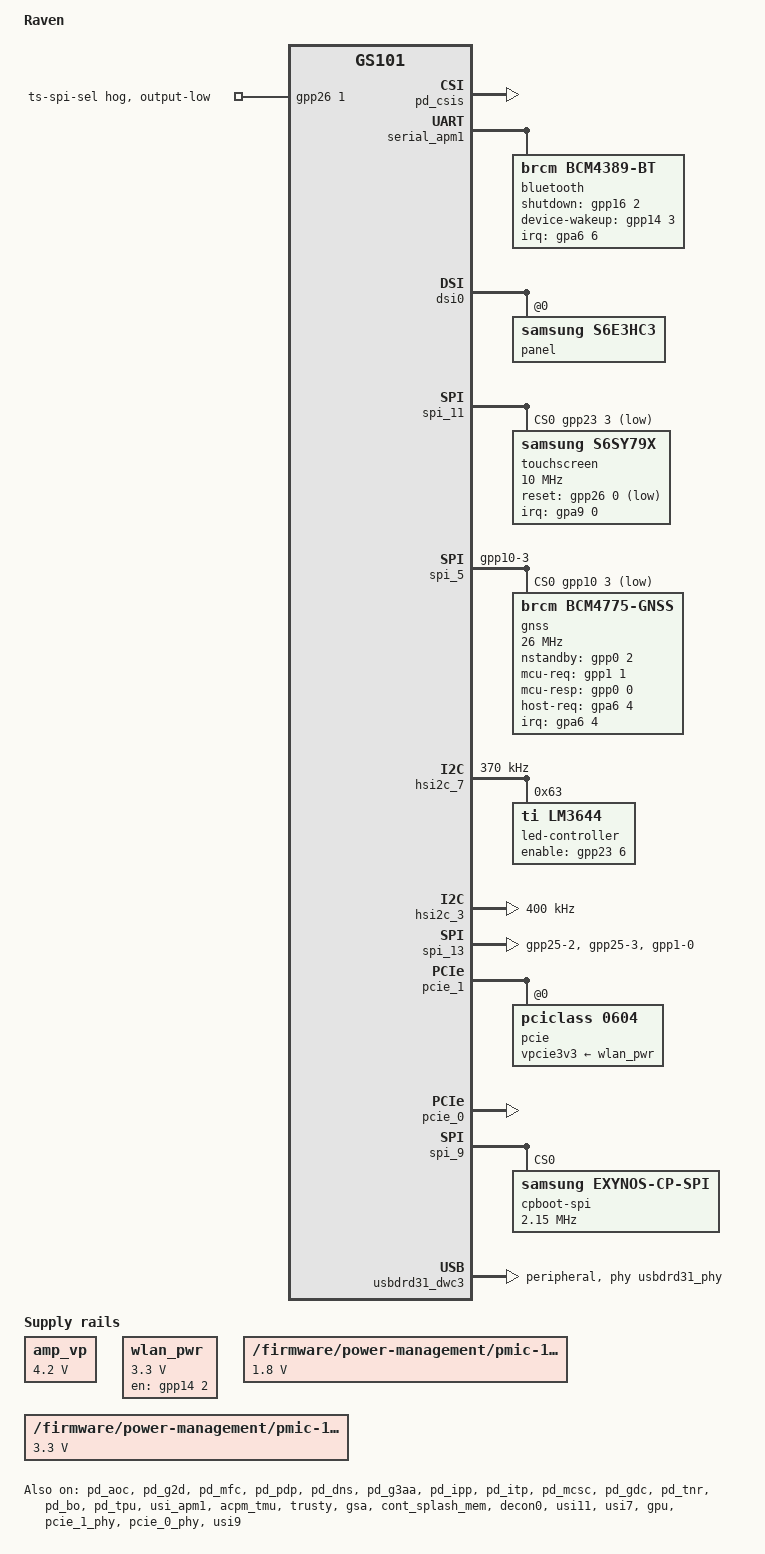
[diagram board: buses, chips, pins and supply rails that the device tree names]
// SPDX-License-Identifier: GPL-2.0-only
/*
 * Raven Device Tree
 *
 * Copyright 2021-2023 Google LLC
 * Copyright 2023-2025 Linaro Ltd
 */

/dts-v1/;

#include <dt-bindings/leds/common.h>
#include "gs101-pixel-common.dtsi"

/ {
	model = "Raven";
	compatible = "google,gs101-raven", "google,gs101";

	/*
	 * ABL picks the base DTB by soc_id (product id 0x09845000 | major
	 * revision); the factory vendor_boot carries one per revision. B0 = 1.
	 */
	soc_id = <0x09845001 0x0>;

	chosen {
		/*
		 * ABL appends its own arguments (console=null among them), so a
		 * panic is silent: panic=10 reboots instead of hanging. init hands
		 * over to the Arch root on userdata when it finds one.
		 * mem_sleep_default=s2idle: the firmware offers PSCI system
		 * suspend, so "mem" would otherwise mean "deep", which needs a
		 * PMU sleep sequence the kernel doesn't have yet.
		 */
		bootargs = "console=tty0 panic=10 clk_ignore_unused rdinit=/init mem_sleep_default=s2idle";
	};

	reserved-memory {
		/*
		 * Scanout buffers for gs-decon: DPP0 takes 32-bit addresses and
		 * the DPU SysMMU is bypassed (as on cheetah). Five 1440x3120
		 * XRGB8888 buffers; reusable while unused.
		 */
		display_pool: display-pool {
			compatible = "shared-dma-pool";
			reusable;
			size = <0x5c00000>;
			alignment = <0x0 0x200000>;
			/* Not in 3.75-4 GiB: DPP0's reads from 0xf2c00000+ hung silently */
			alloc-ranges = <0x0 0xa0000000 0x40000000>;
		};
	};
};

&acpm_ipc {
	/*
	 * ABL leaves the memory bus at 2028 MHz and nothing scales it yet.
	 * 1014 MHz saved about 70 mA, as much as stock's
	 * 421 MHz idle, with headroom for the display and the GPU.
	 */
	assigned-clocks = <&acpm_ipc GS101_CLK_ACPM_DVFS_MIF>;
	assigned-clock-rates = <1014000000>;

	pmic-2 {
		regulators {
			ldo4s {
				regulator-name = "vdd2_uwb";
				regulator-min-microvolt = <2500000>;
				regulator-max-microvolt = <3300000>;
			};

			ldo14s {
				regulator-name = "vdd3_uwb";
				regulator-min-microvolt = <1600000>;
				regulator-max-microvolt = <1950000>;
			};
		};
	};
};

/* Unused blocks the bootloader leaves powered: genpd turns them off */
&pd_aoc {
	status = "okay";
};

&pd_g2d {
	status = "okay";
};

&pd_mfc {
	status = "okay";
};

&pd_csis {
	status = "okay";
};

&pd_pdp {
	status = "okay";
};

&pd_dns {
	status = "okay";
};

&pd_g3aa {
	status = "okay";
};

&pd_ipp {
	status = "okay";
};

&pd_itp {
	status = "okay";
};

&pd_mcsc {
	status = "okay";
};

&pd_gdc {
	status = "okay";
};

&pd_tnr {
	status = "okay";
};

&pd_bo {
	status = "okay";
};

&pd_tpu {
	status = "okay";
};

/* Bluetooth: the BCM4389 on the APM USI1 UART (Google's gs101-common-bluetooth) */
&usi_apm1 {
	status = "okay";
};

&serial_apm1 {
	status = "okay";

	bluetooth {
		compatible = "brcm,bcm4389-bt";
		shutdown-gpios = <&gpp16 2 GPIO_ACTIVE_HIGH>;
		device-wakeup-gpios = <&gpp14 3 GPIO_ACTIVE_HIGH>;
		interrupts-extended = <&gpa6 6 IRQ_TYPE_EDGE_RISING>;
		interrupt-names = "host-wakeup";
		max-speed = <3000000>;
	};
};

&acpm_tmu {
	status = "okay";
};

/* AoC bring-up: Trusty and the GSA mailbox */
&trusty {
	status = "okay";
};

&gsa {
	status = "okay";
};

/*
 * The AoC's sensor rails, as on stock raven: the AoC driver power-cycles
 * and enables them at probe. The microphones are on ldo20m, always on.
 */
&aoc {
	google,board-id = <0x20202>;
	google,board-rev = <0x10000>;
	/* D_TZPC_AOC: stock pd_aoc's need_smc, restored by an EL3 SMC */
	google,tzpc-smc = <0x1a010204>;
	sensor_1v8-supply = <&{/firmware/power-management/pmic-2/regulators/ldo7s}>;
	sensor_3v3-supply = <&{/firmware/power-management/pmic-2/regulators/ldo6s}>;
	sensor_power_list = "sensor_1v8", "sensor_3v3";
};

&cont_splash_mem {
	reg = <0x0 0xfac00000 (1440 * 3120 * 4)>;

	status = "okay";
};

/* The display: gs-decon takes over the bootloader's pipeline from simpledrm */
&decon0 {
	memory-region = <&display_pool>, <&cont_splash_mem>;
	memory-region-names = "pool", "boot-framebuffer";
	status = "okay";
};

&dsi0 {
	/* mask DECON's trigger while the panel's display is off */
	google,decon = <&decon0>;
	status = "okay";

	/* brightness, display on/off and 60/120 Hz; the bootloader runs it */
	panel@0 {
		compatible = "samsung,s6e3hc3";
		reg = <0>;
	};
};

&framebuffer0 {
	width = <1440>;
	height = <3120>;
	stride = <(1440 * 4)>;
	format = "a8r8g8b8";

	status = "okay";
};

/*
 * Touch: a Samsung S6SY79x on SPI 11 (Google's gs101-sec-touch.dtsi and
 * gs101-common-touch.dtsi): 10 MHz, mode 3, interrupt on gpa9-0, an
 * active-low reset on gpp26-0 (sec_ts drives it 0 until powered, then
 * 1, 0, 1), DVDD on LDO25M and AVDD on LDO26M, which
 * gs101-raven-touch.dtsi pins to 1.8 V and 3.3 V.
 */
&usi11 {
	samsung,mode = <USI_MODE_SPI>;
	status = "okay";
};

&spi_11 {
	cs-gpios = <&gpp23 3 GPIO_ACTIVE_LOW>;
	num-cs = <1>;
	pinctrl-0 = <&spi11_bus &spi11_cs>;
	status = "okay";

	touchscreen@0 {
		compatible = "samsung,s6sy79x";
		reg = <0>;
		spi-max-frequency = <10000000>;
		spi-cpol;
		spi-cpha;
		interrupt-parent = <&gpa9>;
		interrupts = <0 IRQ_TYPE_LEVEL_LOW>;
		reset-gpios = <&gpp26 0 GPIO_ACTIVE_LOW>;
		vdd-supply = <&{/firmware/power-management/pmic-1/regulators/ldo25m}>;
		avdd-supply = <&{/firmware/power-management/pmic-1/regulators/ldo26m}>;
		touchscreen-size-x = <1440>;
		touchscreen-size-y = <3120>;
	};
};

/* TS_SPI_SEL: low gives the touch controller's bus to the AP, not the AoC */
&gpp26 {
	ts-spi-sel-hog {
		gpio-hog;
		gpios = <1 GPIO_ACTIVE_HIGH>;
		output-low;
		line-name = "ts-spi-sel";
	};
};

&{/firmware/power-management/pmic-1/regulators/ldo25m} {
	regulator-min-microvolt = <1800000>;
	regulator-max-microvolt = <1800000>;
};

&{/firmware/power-management/pmic-1/regulators/ldo26m} {
	regulator-min-microvolt = <3300000>;
	regulator-max-microvolt = <3300000>;
};

/*
 * GNSS: Broadcom BCM4775x on PERIC0 USI5 SPI (Google's spi5), 26 MHz, mode 3,
 * as stock's raven device tree describes it (bcm4775@0). The chip select is
 * driven as a GPIO, as on cheetah. Its supplies are S2MPG11 LDO9S-LDO11S
 * (stock: L9S_GNSS_CORE, L10S_GNSS_RF, L11S_GNSS_AUX). The stock lhd/gpsd
 * daemons drive it through /dev/ttyBCM. Disabled until the gnss-test
 * overlay.
 */
&usi5 {
	samsung,mode = <USI_MODE_SPI>;
};

&spi_5 {
	pinctrl-0 = <&spi5_bus &gnss_spi_cs>;
	cs-gpios = <&gpp10 3 GPIO_ACTIVE_LOW>;
	num-cs = <1>;

	gnss@0 {
		compatible = "brcm,bcm4775-gnss";
		reg = <0>;
		spi-max-frequency = <26000000>;
		spi-cpol;
		spi-cpha;
		interrupts-extended = <&gpa6 4 IRQ_TYPE_LEVEL_HIGH>;
		/* Raw levels: lhd writes 1 to the nstandby attribute to run it */
		nstandby-gpios = <&gpp0 2 GPIO_ACTIVE_HIGH>;
		mcu-req-gpios = <&gpp1 1 GPIO_ACTIVE_HIGH>;
		mcu-resp-gpios = <&gpp0 0 GPIO_ACTIVE_HIGH>;
		host-req-gpios = <&gpa6 4 GPIO_ACTIVE_HIGH>;
		vddcore-supply = <&{/firmware/power-management/pmic-2/regulators/ldo9s}>;
		vddrf-supply = <&{/firmware/power-management/pmic-2/regulators/ldo10s}>;
		vddaux-supply = <&{/firmware/power-management/pmic-2/regulators/ldo11s}>;
		pinctrl-0 = <&gnss_nstandby &gnss_mcu_resp &gnss_mcu_req
			     &gnss_host_req>;
		pinctrl-names = "default";
	};
};

&pinctrl_far_alive {
	gnss_host_req: gnss-host-req-pins {
		samsung,pins = "gpa6-4";
		samsung,pin-function = <GS101_PIN_FUNC_EINT>;
		samsung,pin-pud = <GS101_PIN_PULL_NONE>;
	};
};

&pinctrl_peric0 {
	gnss_mcu_resp: gnss-mcu-resp-pins {
		samsung,pins = "gpp0-0";
		samsung,pin-function = <GS101_PIN_FUNC_INPUT>;
		samsung,pin-pud = <GS101_PIN_PULL_DOWN>;
	};

	gnss_nstandby: gnss-nstandby-pins {
		samsung,pins = "gpp0-2";
		samsung,pin-function = <GS101_PIN_FUNC_OUTPUT>;
		samsung,pin-pud = <GS101_PIN_PULL_NONE>;
	};

	gnss_mcu_req: gnss-mcu-req-pins {
		samsung,pins = "gpp1-1";
		samsung,pin-function = <GS101_PIN_FUNC_OUTPUT>;
		samsung,pin-pud = <GS101_PIN_PULL_NONE>;
	};

	gnss_spi_cs: gnss-spi-cs-pins {
		samsung,pins = "gpp10-3";
		samsung,pin-function = <GS101_PIN_FUNC_OUTPUT>;
		samsung,pin-pud = <GS101_PIN_PULL_NONE>;
	};
};

/*
 * Rear flash LED: TI LM3644 at 0x63 on PERIC0 USI7 (Google's I2C bus 7, also
 * the cameras' bus), HWEN on gpp23-6, as stock's raven device tree
 * describes it. Stock drives it from the camera HAL through LWIS; torch only
 * here, with cheetah's bring-up cap (not a stock value).
 */
&usi7 {
	samsung,mode = <USI_MODE_I2C>;
	status = "okay";
};

&hsi2c_7 {
	clock-frequency = <370000>;
	status = "okay";

	led-controller@63 {
		compatible = "ti,lm3644";
		reg = <0x63>;
		enable-gpios = <&gpp23 6 GPIO_ACTIVE_HIGH>;

		led {
			function = LED_FUNCTION_TORCH;
			color = <LED_COLOR_ID_WHITE>;
			led-sources = <1 2>;
			led-max-microamp = <50000>;
		};
	};

	/*
	 * The camera PMIC. Its boost, buck and pull-up lines (S2MPG11 GPIOs
	 * 1, 3 and 4) have no binding yet; they must be high before chip
	 * select, in that order. The LDOs carry no voltage constraints, so
	 * nothing sets a voltage until the camera supplies are described.
	 */
	pmic@75 {
		compatible = "dlg,slg51000";
		reg = <0x75>;
		dlg,cs-gpios = <&s2mpg11_gpio 0 GPIO_ACTIVE_HIGH>;
		status = "disabled";

		regulators {
			cam_ldo1: ldo1 {
				regulator-name = "cam_ldo1";
				/* stock waits 3 ms before the next camera supply */
				regulator-enable-ramp-delay = <3000>;
			};

			cam_ldo2: ldo2 {
				regulator-name = "cam_ldo2";
			};

			cam_ldo3: ldo3 {
				regulator-name = "cam_ldo3";
			};

			cam_ldo4: ldo4 {
				regulator-name = "cam_ldo4";
			};

			cam_ldo5: ldo5 {
				regulator-name = "cam_ldo5";
			};

			cam_ldo6: ldo6 {
				regulator-name = "cam_ldo6";
			};

			cam_ldo7: ldo7 {
				regulator-name = "cam_ldo7";
			};
		};
	};
};

/*
 * The ultrawide camera's bus (Google's I2C bus 3): the IMX386 at 0x1a and
 * its module EEPROM at 0x50, both powered from the camera PMIC, so the bus
 * stays disabled until the camera supplies are described. Stock pulls the
 * lines up in the SoC while the bus is in use and runs it at 950 kHz;
 * fast mode is plenty for bring-up.
 */
&hsi2c3_bus {
	samsung,pin-pud = <GS101_PIN_PULL_UP>;
};

&usi3 {
	samsung,mode = <USI_MODE_I2C>;
};

&hsi2c_3 {
	clock-frequency = <400000>;

	/*
	 * The ultrawide, a Sony IMX386. Stock's power-up: LDO1, 3 ms (the
	 * ramp delay above), LDO4, 1 ms, MCLK, 1 ms, reset released, 10 ms.
	 * The board feeds the module only LDO1 (3.05 V) and LDO4 (2.9 V), so
	 * the module makes its interface and core supplies from LDO1. The
	 * MCLK runs from the 24.576 MHz oscillator, which is what stock's
	 * sensor settings declare (EXCK_FREQ 0x1893). Not connected to a
	 * receiver yet: the endpoint has no remote.
	 */
	camera-sensor@1a {
		compatible = "sony,imx386";
		reg = <0x1a>;
		clocks = <&cmu_top CLK_DOUT_CMU_CIS_CLK0>;
		assigned-clocks = <&cmu_top CLK_DOUT_CMU_CIS_CLK0>;
		assigned-clock-rates = <24576000>;
		pinctrl-names = "default";
		pinctrl-0 = <&cam_uw_mclk_on>;
		reset-gpios = <&gpp6 3 GPIO_ACTIVE_LOW>;
		vif-supply = <&cam_ldo1>;
		vdig-supply = <&cam_ldo1>;
		vana-supply = <&cam_ldo4>;
		firmware-name = "omamobile/camera/imx386-uw.bin";
		orientation = <1>;	/* back */
		/* as cheetah's ultrawide: upright in portrait at 270 */
		rotation = <270>;
		status = "disabled";

		port {
			/* the rate is stock's; four lanes as on cheetah [I] */
			endpoint {
				data-lanes = <1 2 3 4>;
				link-frequencies = /bits/ 64 <774144000>;
			};
		};
	};
};

&pinctrl_peric0 {
	cam_uw_mclk_on: cam-uw-mclk-on-pins {
		samsung,pins = "gpp3-0";
		samsung,pin-function = <GS101_PIN_FUNC_2>;
		samsung,pin-pud = <GS101_PIN_PULL_NONE>;
		samsung,pin-drv = <GS101_PIN_DRV_5_MA>;
	};
};

/ {
	/* the amplifiers' VP comes straight from the battery (V_SYS) */
	amp_vp: regulator-amp-vp {
		compatible = "regulator-fixed";
		regulator-name = "amp-vp";
		regulator-min-microvolt = <4200000>;
		regulator-max-microvolt = <4200000>;
		regulator-always-on;
		regulator-boot-on;
	};
};

/*
 * The speaker amplifiers: two CS35L41 on SPI 13 (USI13), as in stock's raven
 * device tree. Chip select 0 is the top speaker (earpiece), 1 the bottom
 * loudspeaker. Their audio comes from the AoC's TDM 0 port; the nodes stay
 * disabled until a sound card describes that link.
 */
&usi13 {
	samsung,mode = <USI_MODE_SPI>;
};

&spi_13 {
	pinctrl-0 = <&spi13_bus &amp_miso &amp_top_cs &amp_bottom_cs>;
	cs-gpios = <&gpp25 3 GPIO_ACTIVE_LOW>, <&gpp1 0 GPIO_ACTIVE_LOW>;
	num-cs = <2>;

	amp_top: amplifier@0 {
		compatible = "cirrus,cs35l41";
		reg = <0>;
		#sound-dai-cells = <1>;
		spi-max-frequency = <25000000>;
		interrupts-extended = <&gpa6 3 IRQ_TYPE_LEVEL_HIGH>;
		reset-gpios = <&gpp16 3 GPIO_ACTIVE_HIGH>;
		pinctrl-0 = <&amp_top_irq &amp_top_rst>;
		pinctrl-names = "default";
		VA-supply = <&s2mpg11_bucka>;
		VP-supply = <&amp_vp>;
		sound-name-prefix = "Top";
		cirrus,subsystem-id = "raven";
		cirrus,boost-type = <0>;
		cirrus,boost-peak-milliamp = <3500>;
		cirrus,boost-ind-nanohenry = <1000>;
		cirrus,boost-cap-microfarad = <30>;
		cirrus,asp-sdout-hiz = <3>;
		/* the stock protection firmware does not survive hibernation */
		cirrus,dsp-no-hibernate;
		/* GPIO2 = push-pull interrupt, active high */
		cirrus,gpio2-src-select = <5>;
		cirrus,gpio2-output-enable;
		status = "disabled";
	};

	amp_bottom: amplifier@1 {
		compatible = "cirrus,cs35l41";
		reg = <1>;
		#sound-dai-cells = <1>;
		spi-max-frequency = <25000000>;
		interrupts-extended = <&gpa9 6 IRQ_TYPE_LEVEL_HIGH>;
		reset-gpios = <&gpp23 7 GPIO_ACTIVE_HIGH>;
		pinctrl-0 = <&amp_bottom_irq &amp_bottom_rst>;
		pinctrl-names = "default";
		VA-supply = <&s2mpg11_bucka>;
		VP-supply = <&amp_vp>;
		sound-name-prefix = "Bottom";
		cirrus,subsystem-id = "raven";
		cirrus,boost-type = <0>;
		cirrus,boost-peak-milliamp = <3500>;
		cirrus,boost-ind-nanohenry = <1000>;
		cirrus,boost-cap-microfarad = <30>;
		cirrus,asp-sdout-hiz = <3>;
		cirrus,dsp-no-hibernate;
		cirrus,gpio2-src-select = <5>;
		cirrus,gpio2-output-enable;
		status = "disabled";
	};
};

&pinctrl_far_alive {
	amp_top_irq: amp-top-irq-pins {
		samsung,pins = "gpa6-3";
		samsung,pin-function = <GS101_PIN_FUNC_EINT>;
		samsung,pin-pud = <GS101_PIN_PULL_NONE>;
	};
};

&pinctrl_gpio_alive {
	amp_bottom_irq: amp-bottom-irq-pins {
		samsung,pins = "gpa9-6";
		samsung,pin-function = <GS101_PIN_FUNC_EINT>;
		samsung,pin-pud = <GS101_PIN_PULL_NONE>;
	};
};

&pinctrl_peric0 {
	amp_bottom_cs: amp-bottom-cs-pins {
		samsung,pins = "gpp1-0";
		samsung,pin-function = <GS101_PIN_FUNC_OUTPUT>;
		samsung,pin-pud = <GS101_PIN_PULL_NONE>;
	};

	amp_top_rst: amp-top-rst-pins {
		samsung,pins = "gpp16-3";
		samsung,pin-function = <GS101_PIN_FUNC_OUTPUT>;
		samsung,pin-pud = <GS101_PIN_PULL_NONE>;
	};
};

&pinctrl_peric1 {
	amp_top_cs: amp-top-cs-pins {
		samsung,pins = "gpp25-3";
		samsung,pin-function = <GS101_PIN_FUNC_OUTPUT>;
		samsung,pin-pud = <GS101_PIN_PULL_NONE>;
	};

	/* stock pulls MISO down while no chip drives it */
	amp_miso: amp-miso-pins {
		samsung,pins = "gpp25-2";
		samsung,pin-function = <GS101_PIN_FUNC_2>;
		samsung,pin-pud = <GS101_PIN_PULL_DOWN>;
	};

	amp_bottom_rst: amp-bottom-rst-pins {
		samsung,pins = "gpp23-7";
		samsung,pin-function = <GS101_PIN_FUNC_OUTPUT>;
		samsung,pin-pud = <GS101_PIN_PULL_NONE>;
	};
};

/*
 * The panel's rails (the framebuffer's vci and vddi supplies). simpledrm
 * holds them; when gs-decon takes the display over, simpledrm goes away and
 * releases them, the panel lost power and DECON stalled on its first flip.
 * Keep them on until the panel driver owns them.
 */
&s2mpg10_ldo22m {
	regulator-always-on;
};

&s2mpg11_bucka {
	regulator-always-on;
};

/* The Mali-G78 MP20 on its S2MPG10/11 rails, as postmarketOS describes them */
&gpu {
	mali-supply = <&s2mpg11_buck2s>;
	g3d-l2-supply = <&s2mpg11_buck8s>;
	g3d-m-supply = <&s2mpg11_ldo1s>;
	int-m-supply = <&s2mpg10_buck7m>;

	status = "okay";
};

/*
 * The CPU zones report the cluster hotspot through ACPM, which can jump by
 * 30 °C for one sample under a short burst of load. Google's raven
 * throttles from 90 °C and only has a "hot" trip at 115 °C: keep our
 * throttling from 75 °C and power off at a sustained 115 °C.
 */
&big_crit {
	temperature = <115000>;
};

&mid_crit {
	temperature = <115000>;
};

&little_crit {
	temperature = <115000>;
};

/*
 * GSA's pin controller belongs to the secure world: a read of its registers
 * from Linux raises a synchronous external abort (its debugfs pin list
 * oopsed and once hung the phone). Nothing here uses its one bank (gps3).
 */
&pinctrl_gsactrl {
	status = "disabled";
};

/*
 * Wi-Fi: the BCM4389 on PCIe GEN4A_1 (Google's gs101-common-wlan.dtsi):
 * WL_REG_ON on gpp14-2. As on cheetah, its DMA buffers come from a
 * restricted pool below 4 GiB (2 address cells, 1 size cell on gs101).
 * Google's raven node runs the link without cache coherency.
 */
/ {
	wlan_pwr: regulator-wlan {
		compatible = "regulator-fixed";
		regulator-name = "wlan-reg-on";
		regulator-min-microvolt = <3300000>;
		regulator-max-microvolt = <3300000>;
		gpio = <&gpp14 2 GPIO_ACTIVE_HIGH>;
		enable-active-high;
		startup-delay-us = <200000>;
	};

	reserved-memory {
		wifi_dma_pool: wifi-dma-pool {
			compatible = "restricted-dma-pool";
			size = <0x1000000>;
			alignment = <0x0 0x200000>;
			/* the chip's writes above 4 GiB are not seen (cheetah) */
			alloc-ranges = <0x0 0x80000000 0x80000000>;
		};
	};
};

&pcie_1_phy {
	status = "okay";
};

&pcie_1 {
	status = "okay";

	pcie@0,0 {
		compatible = "pciclass,0604";
		device_type = "pci";
		reg = <0x0 0x0 0x0 0x0 0x0>;
		bus-range = <0x01 0xff>;
		#address-cells = <3>;
		#size-cells = <2>;
		ranges;
		vpcie3v3-supply = <&wlan_pwr>;

		wifi@0,0 {
			compatible = "pci14e4,4441";
			reg = <0x10000 0x0 0x0 0x0 0x0>;
			brcm,board-type = "google,gs101-raven";
			memory-region = <&wifi_dma_pool>;
		};
	};
};

/ {
	aliases {
		/* the modem's first boot stage: cpboot_spi_bus_num = 9 */
		spi9 = &spi_9;
	};
};

/*
 * Modem: Samsung S5123 on PCIe GEN4A_0 (HSI1), with its control lines from
 * stock's cpif node (board overlay 6). Raw levels, as Google's CPIF drives
 * them. The S5123 has no warm-reset lines. The link driver (pcie-gs201-cp)
 * keeps the PCIe channel; Google's CPIF (the cpif node below) takes the
 * lines and memory, so the modem child stays disabled.
 */
&pinctrl_hsi1 {
	status = "okay";
};

&pcie_0_phy {
	status = "okay";
};

&pcie_0 {
	status = "okay";
	/* the modem's MSI page: MSIs land here, as on stock */
	memory-region = <&cp_msi_mem>;
	/* stock's vreg1 and vreg2 (board overlay 6) */
	vdd085-supply = <&{/firmware/power-management/pmic-1/regulators/ldo16m}>;
	vdd18-supply = <&{/firmware/power-management/pmic-1/regulators/ldo18m}>;

	modem {
		compatible = "samsung,s5123-modem";
		status = "disabled";
		/* stock's cp_shmem order: IPC, MSI, PKTPROC, PKTPROC_UL */
		memory-region = <&cp_ipc_mem>, <&cp_msi_mem>,
				<&cp_pktproc_mem>, <&cp_pktproc_ul_mem>;
		ap2cp-pda-active-gpios = <&gph1 1 GPIO_ACTIVE_HIGH>;
		ap2cp-cp-pwr-on-gpios = <&gph1 0 GPIO_ACTIVE_HIGH>;
		ap2cp-nreset-gpios = <&gph1 3 GPIO_ACTIVE_HIGH>;
		ap2cp-wakeup-gpios = <&gph0 2 GPIO_ACTIVE_HIGH>;
		ap2cp-dump-noti-gpios = <&gph0 3 GPIO_ACTIVE_HIGH>;
		cp2ap-ps-hold-gpios = <&gpa9 5 GPIO_ACTIVE_HIGH>;
		cp2ap-wakeup-gpios = <&gpa8 4 GPIO_ACTIVE_HIGH>;
		cp2ap-phone-active-gpios = <&gpa8 5 GPIO_ACTIVE_HIGH>;
	};
};

/*
 * The modem's first boot stage (the BOOT entry of modem.bin, under 128 KiB)
 * goes over USI9's SPI before its PCIe side comes up, as on stock (board
 * overlay 6: native chip select, 2.15 MHz).
 */
&usi9 {
	samsung,mode = <USI_MODE_SPI>;
	status = "okay";
};

&spi_9 {
	status = "okay";
	pinctrl-0 = <&spi9_bus &spi9_cs_func>;
	pinctrl-names = "default";
	num-cs = <1>;

	cpboot-spi@0 {
		compatible = "samsung,exynos-cp-spi";
		reg = <0>;
		spi-max-frequency = <2150000>;
	};
};

/*
 * The modem's shared memory, as stock's cp_shmem (board overlay 6): IPC,
 * the MSI page and the packet processor's downlink and uplink buffers. The
 * modem writes these by DMA once it runs, so Linux must never use them;
 * our kernel had them as System RAM. Reserved always, as on stock.
 */
/ {
	reserved-memory {
		cp_ipc_mem: cp-rmem@f0000000 {
			reg = <0x0 0xf0000000 0x800000>;
			no-map;
		};

		cp_msi_mem: cp-msi@f6200000 {
			reg = <0x0 0xf6200000 0x1000>;
			no-map;
		};

		cp_pktproc_mem: cp-rmem1@e8000000 {
			reg = <0x0 0xe8000000 0x1c00000>;
			no-map;
		};

		cp_pktproc_ul_mem: cp-rmem2@ee000000 {
			reg = <0x0 0xee000000 0x400000>;
			no-map;
		};
	};
};

/*
 * First light: no Type-C driver runs in the initramfs, so don't make the
 * controller wait for one. Plain USB 2 device mode on the USB 2 PHY, as on
 * cheetah, until the MAX77759 TCPC and the USB-C role switch are brought up.
 */
&usbdrd31_dwc3 {
	dr_mode = "peripheral";
	maximum-speed = "high-speed";
	phys = <&usbdrd31_phy 0>;
	phy-names = "usb2-phy";
	/delete-property/ role-switch-default-mode;
	/*
	 * Keep usb-role-switch: in peripheral mode it registers nothing, but
	 * without it dwc3 looks for an extcon through the PHY's port and waits
	 * forever for the TCPC to provide one ("failed to get extcon").
	 */
};

/*
 * Without a TCPC driver nothing reports a cable orientation, and with
 * orientation-switch set the PHY never forces VBUS/B-valid, so dwc3 stays
 * "Disconnected". Without it the PHY forces both at init (exynos850-style
 * UTMI init), as it would on a board with no Type-C port controller.
 */
&usbdrd31_phy {
	/delete-property/ orientation-switch;
};

/*
 * NOT FOR MERGE: Google's CPIF (drivers/soc/google/cpif, imported for
 * bring-up) and its shared-memory description, as stock's cpif and
 * cp_shmem nodes (board overlay 6, factory image cp3a.261005.002.a1).
 * These bindings are Google's, not upstream's.
 */
/ {
	cp-shmem {
		compatible = "samsung,exynos-cp-shmem";
		cp_num = <0>;
		use_mem_map_on_cp = <0>;

		/* region,rmem: the modem node's memory-region entries */
		regions {
			ipc {
				region,name = "IPC";
				region,index = <3>;
				region,rmem = <0>;
				region,offset = <0>;
				region,size = <0x400000>;
				region,cached = <1>;
			};

			msi {
				region,name = "MSI";
				region,index = <11>;
				region,rmem = <1>;
				region,offset = <0>;
				region,size = <0x1000>;
				region,cached = <0>;
			};

			pktproc {
				region,name = "PKTPROC";
				region,index = <7>;
				region,rmem = <2>;
				region,offset = <0>;
				region,size = <0x1c00000>;
			};

			pktproc-ul {
				region,name = "PKTPROC_UL";
				region,index = <8>;
				region,rmem = <3>;
				region,offset = <0>;
				region,size = <0x400000>;
			};
		};
	};

	cpif {
		compatible = "samsung,exynos-cp";
		pci_ch_num = <0>;
		pci_db_addr = <0x40060000>;
		mif,name = "s5123";
		mif,cp_num = <0>;
		mif,modem_type = <1>;
		mif,protocol = <1>;
		mif,ipc_version = <0x32>;
		mif,link_type = <1>;
		mif,link_name = "PCIE";
		mif,link_attrs = <0xfc8>;
		cpboot_spi_bus_num = <9>;
		mif,interrupt_types = <1>;
		mif,capability_check = <1>;
		mif,int_ap2cp_msg = <0>;
		mif,int_ap2cp_wakeup = <1>;
		mif,int_ap2cp_status = <2>;
		mif,int_ap2cp_active = <3>;
		mif,int_ap2cp_lcd_status = <4>;
		mif,int_ap2cp_pcie_link_ack = <14>;
		mif,int_ap2cp_uart_noti = <15>;
		mif,irq_cp2ap_msg = <0>;
		mif,irq_cp2ap_status = <2>;
		mif,irq_cp2ap_active = <3>;
		mif,irq_cp2ap_wakelock = <8>;
		mif,irq_cp2ap_ratmode = <9>;
		legacy_fmt_head_tail_offset = <0x8>;
		legacy_fmt_buffer_offset = <0x1000>;
		legacy_fmt_txq_size = <0x1000>;
		legacy_fmt_rxq_size = <0x1000>;
		legacy_raw_head_tail_offset = <0x18>;
		legacy_raw_buffer_offset = <0x3000>;
		legacy_raw_txq_size = <0x1fd000>;
		legacy_raw_rxq_size = <0x200000>;
		legacy_raw_rx_buffer_cached = <0>;
		offset_srinfo_offset = <0x64>;
		offset_capability_offset = <0x70>;
		offset_boot_indicator = <0x90>;
		srinfo_offset = <0x300>;
		srinfo_size = <0x400>;
		capability_offset = <0xa0>;
		ap_capability_0 = <0>;
		ap_capability_1 = <0>;
		ap2cp_msg = <2 0x800>;
		cp2ap_msg = <2 0x804>;
		ap2cp_united_status = <2 0x808>;
		cp2ap_united_status = <2 0x80c>;
		ap2cp_kerneltime = <2 0x824>;
		ap2cp_handover_block_info = <2 0x82c>;
		sbi_lcd_status_mask = <0x1>;
		sbi_lcd_status_pos = <27>;
		sbi_crash_type_mask = <0xf>;
		sbi_crash_type_pos = <23>;
		sbi_uart_noti_mask = <0x1>;
		sbi_uart_noti_pos = <16>;
		sbi_ds_det_mask = <0x3>;
		sbi_ds_det_pos = <14>;
		sbi_pda_active_mask = <0x1>;
		sbi_pda_active_pos = <5>;
		sbi_ap_status_mask = <0xf>;
		sbi_ap_status_pos = <1>;
		sbi_cp_rat_mode_mask = <0x3f>;
		sbi_cp_rat_mode_pos = <26>;
		sbi_cp2ap_wakelock_mask = <0x1>;
		sbi_cp2ap_wakelock_pos = <6>;
		sbi_lte_active_mask = <0x1>;
		sbi_lte_active_pos = <5>;
		sbi_cp_status_mask = <0xf>;
		sbi_cp_status_pos = <1>;
		sbi_ap2cp_kerneltime_sec_mask = <0xfff>;
		sbi_ap2cp_kerneltime_sec_pos = <20>;
		sbi_ap2cp_kerneltime_usec_mask = <0xfffff>;
		sbi_ap2cp_kerneltime_usec_pos = <0>;
		pktproc_use_36bit_addr = <0>;


		/*
		 * The packet processor (mobile data), stock's values (board
		 * overlay 6), but uncached: with the cached mapping stock uses,
		 * the modem read stale uplink buffers here (MODEM-PLAN D2).
		 */
		pktproc_cp_base = <0x0 0x20000000>;

		pktproc_dl_support = <1>;
		pktproc_dl_version = <2>;
		pktproc_dl_info_rgn_offset = <0x0>;
		pktproc_dl_info_rgn_size = <0x1000>;
		pktproc_dl_desc_rgn_offset = <0x1000>;
		pktproc_dl_desc_rgn_size = <0xff000>;
		pktproc_dl_buff_rgn_offset = <0x100000>;
		pktproc_dl_buff_rgn_size = <0x1b00000>;
		pktproc_dl_info_rgn_cached = <0>;
		pktproc_dl_desc_rgn_cached = <0>;
		pktproc_dl_buff_rgn_cached = <0>;
		pktproc_dl_desc_mode = <1>;
		pktproc_dl_num_queue = <1>;
		pktproc_dl_use_exclusive_irq = <0>;
		pktproc_dl_use_hw_iocc = <1>;
		pktproc_dl_max_packet_size = <0x800>;
		pktproc_dl_use_dedicated_baaw = <0>;

		pktproc_ul_support = <1>;
		pktproc_ul_info_rgn_offset = <0x6000000>;
		pktproc_ul_info_rgn_size = <0x1000>;
		pktproc_ul_desc_rgn_offset = <0x6001000>;
		pktproc_ul_desc_rgn_size = <0x20000>;
		pktproc_ul_buff_rgn_offset = <0x6021000>;
		pktproc_ul_buff_rgn_size = <0x3df000>;
		pktproc_ul_padding_required = <1>;
		pktproc_ul_num_queue = <2>;
		pktproc_ul_max_packet_size = <0x800>;
		pktproc_ul_info_rgn_cached = <0>;
		pktproc_ul_desc_rgn_cached = <0>;
		pktproc_ul_buff_rgn_cached = <0>;
		pktproc_ul_use_hw_iocc = <1>;

		iodevs {
			io_device_0 {
				iod,name = "umts_ipc";
				iod,ch = <0xf5>;
				iod,format = <0>;
				iod,io_type = <1>;
				iod,link_type = <1>;
				iod,attrs = <0x2000>;
				iod,ch_count = <2>;
			};

			io_device_1 {
				iod,name = "umts_rfs0";
				iod,ch = <0x29>;
				iod,format = <1>;
				iod,io_type = <1>;
				iod,link_type = <1>;
				iod,attrs = <0>;
			};

			io_device_2 {
				iod,name = "umts_router";
				iod,ch = <0x15>;
				iod,format = <1>;
				iod,io_type = <1>;
				iod,link_type = <1>;
				iod,attrs = <0>;
			};

			io_device_3 {
				iod,name = "umts_dm0";
				iod,ch = <0x51>;
				iod,format = <1>;
				iod,io_type = <1>;
				iod,link_type = <1>;
				iod,attrs = <0x4000>;
			};

			io_device_4 {
				iod,name = "umts_loopback";
				iod,ch = <0x52>;
				iod,format = <1>;
				iod,io_type = <1>;
				iod,link_type = <1>;
				iod,attrs = <0>;
			};

			io_device_5 {
				iod,name = "rmnet";
				iod,ch = <0xb5>;
				iod,format = <1>;
				iod,io_type = <2>;
				iod,link_type = <1>;
				iod,attrs = <0x2000>;
				iod,ch_count = <30>;
			};

			io_device_6 {
				iod,name = "umts_dummy";
				iod,ch = <0xd3>;
				iod,format = <1>;
				iod,io_type = <2>;
				iod,link_type = <1>;
				iod,attrs = <0>;
			};

			io_device_7 {
				iod,name = "multipdp";
				iod,ch = <0>;
				iod,format = <3>;
				iod,io_type = <3>;
				iod,link_type = <1>;
				iod,attrs = <0>;
			};

			io_device_8 {
				iod,name = "umts_boot0";
				iod,ch = <0xf1>;
				iod,format = <4>;
				iod,io_type = <0>;
				iod,link_type = <1>;
				iod,attrs = <0x200>;
			};

			io_device_9 {
				iod,name = "umts_rcs0";
				iod,ch = <0x5b>;
				iod,format = <0>;
				iod,io_type = <1>;
				iod,link_type = <1>;
				iod,attrs = <0>;
			};

			io_device_10 {
				iod,name = "umts_rcs1";
				iod,ch = <0x5c>;
				iod,format = <1>;
				iod,io_type = <1>;
				iod,link_type = <1>;
				iod,attrs = <0>;
			};

			io_device_11 {
				iod,name = "umts_wfc0";
				iod,ch = <0x5d>;
				iod,format = <0>;
				iod,io_type = <1>;
				iod,link_type = <1>;
				iod,attrs = <0>;
			};

			io_device_12 {
				iod,name = "umts_wfc1";
				iod,ch = <0x5e>;
				iod,format = <1>;
				iod,io_type = <1>;
				iod,link_type = <1>;
				iod,attrs = <0>;
			};

			io_device_13 {
				iod,name = "oem_ipc";
				iod,ch = <0x81>;
				iod,format = <0>;
				iod,io_type = <1>;
				iod,link_type = <1>;
				iod,attrs = <0x2000>;
				iod,ch_count = <8>;
			};

			io_device_14 {
				iod,name = "oem_test";
				iod,ch = <0x89>;
				iod,format = <1>;
				iod,io_type = <1>;
				iod,link_type = <1>;
				iod,attrs = <0>;
			};
		};
	};
};

